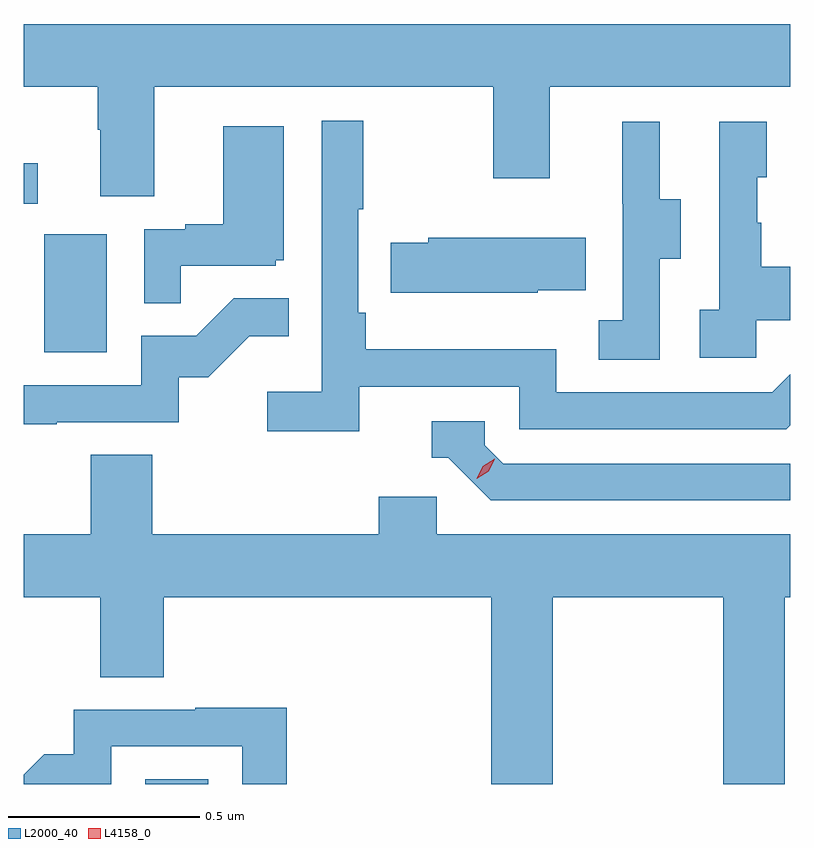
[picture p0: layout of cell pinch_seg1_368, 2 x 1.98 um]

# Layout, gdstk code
import gdstk
lib = gdstk.Library(unit=1e-6, precision=1e-09)
def R(c, l, rs):  # rectangles x0, y0, x1, y1
    for r in rs: c.add(gdstk.rectangle(r[:2], r[2:], *l))
def P(c, l, *ps):  # polygons
    for p in ps: c.add(gdstk.Polygon(p, *l))
L2000_40 = (2000, 40)
L4158_0 = (4158, 0)

pinch_seg1_368 = lib.new_cell('pinch_seg1_368')
R(pinch_seg1_368, L2000_40, [(989.648,543.253,989.812,543.265), (989.384,544.38,989.548,544.687), (989.331,544.767,989.368,544.873)])
P(pinch_seg1_368, L2000_40, [(989.671,545.072),(990.556,545.072),(990.556,544.833),(990.703,544.833),(990.703,545.072),(991.331,545.072),(991.331,545.236),(989.331,545.236),(989.331,545.072),(989.524,545.072),(989.524,544.96),(989.531,544.96),(989.531,544.786),(989.671,544.786)],
  [(990.206,544.29),(990.624,544.29),(990.624,544.179),(991.321,544.179),(991.331,544.189),(991.331,544.322),(991.284,544.275),(990.72,544.275),(990.72,544.387),(990.224,544.387),(990.224,544.483),(990.204,544.483),(990.204,544.753),(990.217,544.753),(990.217,544.984),(990.108,544.984),(990.108,544.276),(989.967,544.276),(989.967,544.174),(990.206,544.174)],
  [(991.242,544.463),(991.331,544.463),(991.331,544.603),(991.255,544.603),(991.255,544.718),(991.245,544.718),(991.245,544.836),(991.27,544.836),(991.27,544.981),(991.146,544.981),(991.146,544.49),(991.095,544.49),(991.095,544.365),(991.242,544.365)],
  [(990.99,544.624),(991.045,544.624),(991.045,544.779),(990.991,544.779),(990.991,544.981),(990.893,544.981),(990.893,544.767),(990.894,544.767),(990.894,544.463),(990.831,544.463),(990.831,544.36),(990.99,544.36)],
  [(989.741,544.605),(989.988,544.605),(989.988,544.62),(990.01,544.62),(990.01,544.969),(989.852,544.969),(989.852,544.714),(989.753,544.714),(989.753,544.701),(989.646,544.701),(989.646,544.507),(989.741,544.507)],
  [(990.672,544.541),(990.797,544.541),(990.797,544.678),(990.387,544.678),(990.387,544.665),(990.289,544.665),(990.289,544.535),(990.672,544.535)],
  [(989.417,544.197),(989.736,544.197),(989.736,544.314),(989.812,544.314),(989.919,544.421),(990.023,544.421),(990.023,544.52),(989.879,544.52),(989.781,544.422),(989.637,544.422),(989.637,544.293),(989.331,544.293),(989.331,544.192),(989.417,544.192)],
  [(991.331,544.089),(990.582,544.089),(990.534,544.137),(990.534,544.2),(990.395,544.2),(990.395,544.104),(990.438,544.104),(990.549,543.993),(991.331,543.993)],
  [(990.711,543.74),(991.156,543.74),(991.156,543.253),(991.316,543.253),(991.316,543.74),(991.331,543.74),(991.331,543.904),(990.408,543.904),(990.408,544.002),(990.257,544.002),(990.257,543.904),(989.666,543.904),(989.666,544.112),(989.506,544.112),(989.506,543.904),(989.331,543.904),(989.331,543.74),(989.531,543.74),(989.531,543.532),(989.696,543.532),(989.696,543.74),(990.551,543.74),(990.551,543.253),(990.711,543.253)],
  [(989.559,543.351),(989.901,543.351),(989.901,543.253),(990.017,543.253),(990.017,543.452),(989.779,543.452),(989.779,543.447),(989.461,543.447),(989.461,543.33),(989.384,543.33),(989.331,543.277),(989.331,543.253),(989.559,543.253)])
P(pinch_seg1_368, L4158_0, [(990.513,544.049),(990.513,544.049),(990.529,544.082),(990.56,544.101),(990.56,544.101),(990.56,544.101),(990.544,544.069),(990.513,544.049)])

lib.write_gds('pinch_seg1_368.gds')
